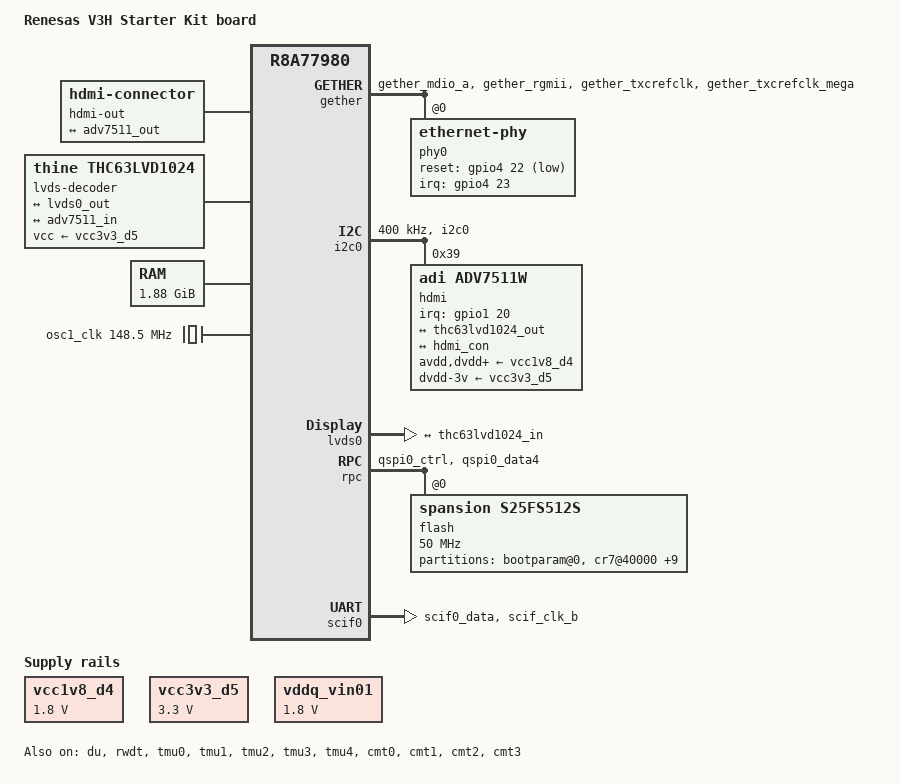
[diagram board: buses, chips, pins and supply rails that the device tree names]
// SPDX-License-Identifier: GPL-2.0
/*
 * Device Tree Source for the V3H Starter Kit board
 *
 * Copyright (C) 2018 Renesas Electronics Corp.
 * Copyright (C) 2018 Cogent Embedded, Inc.
 */

/dts-v1/;
#include "r8a77980.dtsi"
#include <dt-bindings/gpio/gpio.h>

/ {
	model = "Renesas V3H Starter Kit board";
	compatible = "renesas,v3hsk", "renesas,r8a77980";

	aliases {
		serial0 = &scif0;
		ethernet0 = &gether;
	};

	chosen {
		stdout-path = "serial0:115200n8";
	};

	hdmi-out {
		compatible = "hdmi-connector";
		type = "a";

		port {
			hdmi_con: endpoint {
				remote-endpoint = <&adv7511_out>;
			};
		};
	};

	lvds-decoder {
		compatible = "thine,thc63lvd1024";
		vcc-supply = <&vcc3v3_d5>;

		ports {
			#address-cells = <1>;
			#size-cells = <0>;

			port@1 {
				reg = <1>;
				thc63lvd1024_in: endpoint {
					remote-endpoint = <&lvds0_out>;
				};
			};

			port@2 {
				reg = <2>;
				thc63lvd1024_out: endpoint {
					remote-endpoint = <&adv7511_in>;
				};
			};
		};
	};

	memory@48000000 {
		device_type = "memory";
		/* first 128MB is reserved for secure area. */
		reg = <0 0x48000000 0 0x78000000>;
	};

	reserved-memory {
		#address-cells = <2>;
		#size-cells = <2>;
		ranges;

		/* global autoconfigured region for contiguous allocations */
		linux,cma@58000000 {
			compatible = "shared-dma-pool";
			reusable;
			reg = <0x00000000 0x58000000 0x0 0x18000000>;
			linux,cma-default;
		};

		/* device specific region for contiguous allocations */
		mmp_reserved: linux,multimedia@7f000000 {
			compatible = "shared-dma-pool";
			reusable;
			reg = <0x00000000 0x7f000000 0x0 0x01000000>;
		};
	};

	mmngr {
		compatible = "renesas,mmngr";
		memory-region = <&mmp_reserved>;
	};

	mmngrbuf {
		compatible = "renesas,mmngrbuf";
	};

	osc1_clk: osc1-clock {
		compatible = "fixed-clock";
		#clock-cells = <0>;
		clock-frequency = <148500000>;
	};

	vcc1v8_d4: regulator-0 {
		compatible = "regulator-fixed";
		regulator-name = "VCC1V8_D4";
		regulator-min-microvolt = <1800000>;
		regulator-max-microvolt = <1800000>;
		regulator-boot-on;
		regulator-always-on;
	};

	vcc3v3_d5: regulator-1 {
		compatible = "regulator-fixed";
		regulator-name = "VCC3V3_D5";
		regulator-min-microvolt = <3300000>;
		regulator-max-microvolt = <3300000>;
		regulator-boot-on;
		regulator-always-on;
	};

	vddq_vin01: regulator-2 {
		compatible = "regulator-fixed";
		regulator-name = "VDDQ_VIN01";
		regulator-min-microvolt = <1800000>;
		regulator-max-microvolt = <1800000>;
		regulator-boot-on;
		regulator-always-on;
	};
};

&du {
	clocks = <&cpg CPG_MOD 724>,
		 <&osc1_clk>;
	clock-names = "du.0", "dclkin.0";
	status = "okay";
};

&extal_clk {
	clock-frequency = <16666666>;
};

&extalr_clk {
	clock-frequency = <32768>;
};

&gether {
	pinctrl-0 = <&gether_pins>;
	pinctrl-names = "default";

	phy-mode = "rgmii";
	phy-handle = <&phy0>;
	renesas,no-ether-link;
	status = "okay";

	phy0: ethernet-phy@0 {
		rxc-skew-ps = <1500>;
		reg = <0>;
		interrupt-parent = <&gpio4>;
		interrupts = <23 IRQ_TYPE_LEVEL_LOW>;
		reset-gpios = <&gpio4 22 GPIO_ACTIVE_LOW>;
	};
};

&i2c0 {
	pinctrl-0 = <&i2c0_pins>;
	pinctrl-names = "default";

	status = "okay";
	clock-frequency = <400000>;

	hdmi@39 {
		compatible = "adi,adv7511w";
		#sound-dai-cells = <0>;
		reg = <0x39>;
		interrupt-parent = <&gpio1>;
		interrupts = <20 IRQ_TYPE_LEVEL_LOW>;
		avdd-supply = <&vcc1v8_d4>;
		dvdd-supply = <&vcc1v8_d4>;
		pvdd-supply = <&vcc1v8_d4>;
		bgvdd-supply = <&vcc1v8_d4>;
		dvdd-3v-supply = <&vcc3v3_d5>;

		adi,input-depth = <8>;
		adi,input-colorspace = "rgb";
		adi,input-clock = "1x";

		ports {
			#address-cells = <1>;
			#size-cells = <0>;

			port@0 {
				reg = <0>;
				adv7511_in: endpoint {
					remote-endpoint = <&thc63lvd1024_out>;
				};
			};

			port@1 {
				reg = <1>;
				adv7511_out: endpoint {
					remote-endpoint = <&hdmi_con>;
				};
			};
		};
	};
};

&lvds0 {
	status = "okay";

	ports {
		port@1 {
			lvds0_out: endpoint {
				remote-endpoint = <&thc63lvd1024_in>;
			};
		};
	};
};

&mmc0 {
	/* used for on-board eMMC */
	pinctrl-0 = <&mmc_pins>;
	pinctrl-1 = <&mmc_pins>;
	pinctrl-names = "default", "state_uhs";

	vmmc-supply = <&vcc3v3_d5>;
	vqmmc-supply = <&vddq_vin01>;
	mmc-hs200-1_8v;
	bus-width = <8>;
	non-removable;
	status = "disable";
};

&pfc {
	gether_pins: gether {
		groups = "gether_mdio_a", "gether_rgmii",
			 "gether_txcrefclk", "gether_txcrefclk_mega";
		function = "gether";
	};

	i2c0_pins: i2c0 {
		groups = "i2c0";
		function = "i2c0";
	};

	qspi0_pins: qspi0 {
		groups = "qspi0_ctrl", "qspi0_data4";
		function = "qspi0";
	};

	mmc_pins: mmc {
		groups = "mmc_data8", "mmc_ctrl", "mmc_ds";
		function = "mmc";
		power-source = <1800>;
	};

	scif0_pins: scif0 {
		groups = "scif0_data";
		function = "scif0";
	};

	scif_clk_pins: scif_clk {
		groups = "scif_clk_b";
		function = "scif_clk";
	};
};

&rpc {
	pinctrl-0 = <&qspi0_pins>;
	pinctrl-names = "default";

	status = "okay";

	flash@0 {
		compatible = "spansion,s25fs512s", "jedec,spi-nor";
		reg = <0>;
		spi-max-frequency = <50000000>;
		spi-rx-bus-width = <4>;

		partitions {
			compatible = "fixed-partitions";
			#address-cells = <1>;
			#size-cells = <1>;

			bootparam@0 {
				reg = <0x00000000 0x040000>;
				read-only;
			};
			cr7@40000 {
				reg = <0x00040000 0x080000>;
				read-only;
			};
			cert_header_sa3@c0000 {
				reg = <0x000c0000 0x080000>;
				read-only;
			};
			bl2@140000 {
				reg = <0x00140000 0x040000>;
				read-only;
			};
			cert_header_sa6@180000 {
				reg = <0x00180000 0x040000>;
				read-only;
			};
			bl31@1c0000 {
				reg = <0x001c0000 0x460000>;
				read-only;
			};
			uboot@640000 {
				reg = <0x00640000 0x0c0000>;
				read-only;
			};
			uboot-env@700000 {
				reg = <0x00700000 0x040000>;
				read-only;
			};
			dtb@740000 {
				reg = <0x00740000 0x080000>;
			};
			kernel@7c0000 {
				reg = <0x007c0000 0x1400000>;
			};
			user@1bc0000 {
				reg = <0x01bc0000 0x2440000>;
			};
		};
	};
};

&rwdt {
	timeout-sec = <60>;
	status = "okay";
};

&scif0 {
	pinctrl-0 = <&scif0_pins>, <&scif_clk_pins>;
	pinctrl-names = "default";

	status = "okay";
};

&scif_clk {
	clock-frequency = <14745600>;
};

&tmu0 {
	status = "okay";
};

&tmu1 {
	status = "okay";
};

&tmu2 {
	status = "okay";
};

&tmu3 {
	status = "okay";
};

&tmu4 {
	status = "okay";
};

&cmt0 {
	status = "okay";
};

&cmt1 {
	status = "okay";
};

&cmt2 {
	status = "okay";
};

&cmt3 {
	status = "okay";
};
